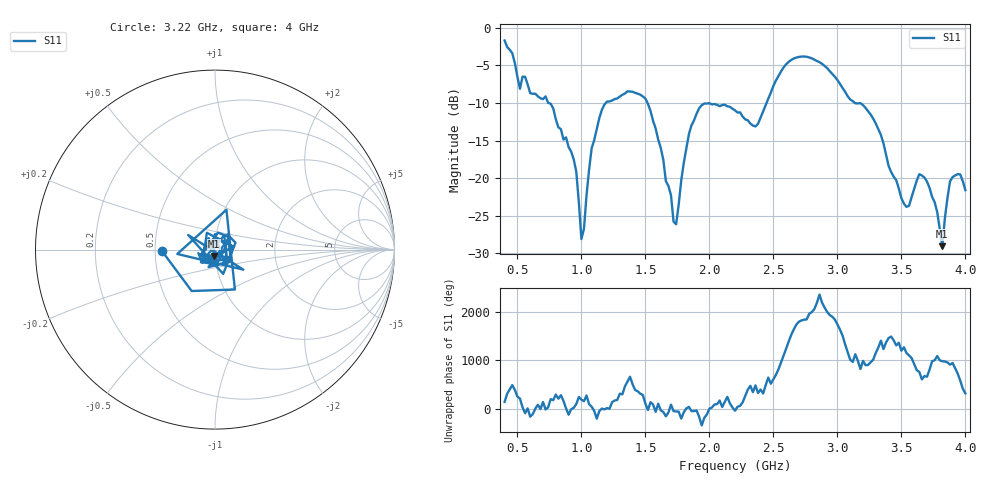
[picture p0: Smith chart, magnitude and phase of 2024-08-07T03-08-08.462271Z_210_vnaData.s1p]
!Created with skrf (http://scikit-rf.org).
# Hz S RI R 50.0
!freq ReS11 ImS11
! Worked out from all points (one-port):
!   181 points, 400 MHz to 4 GHz, reference 50 ohm
!   lowest |S11| = -29.1 dB at 3.82 GHz (marker M1), VSWR 1.07, Z = 49.4 - j3.44 ohm
!   |S11| at or under -10 dB: 742.9 MHz to 1.19 GHz (447.4 MHz wide, 46.3 % of centre); 1.517 GHz to 2.446 GHz (929.4 MHz wide, 46.9 % of centre); 3.138 GHz to end of sweep
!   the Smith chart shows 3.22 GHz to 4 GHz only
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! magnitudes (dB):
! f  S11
! 400 MHz  -1.7
! 520 MHz  -8.1
! 560 MHz  -6.5
! 720 MHz  -9.1
! 860 MHz  -14.9
! 960 MHz  -19.2
! 1 GHz  -28.1
! 1.08 GHz  -16.0
! 1.14 GHz  -12.0
! 1.3 GHz  -9.1
! 1.5 GHz  -9.4
! 1.62 GHz  -16.0
! 1.72 GHz  -25.8
! 1.76 GHz  -23.6
! 1.84 GHz  -14.1
! 1.92 GHz  -10.7
! 2.2 GHz  -11.0
! 2.36 GHz  -13.1
! 2.66 GHz  -4.1
! 2.88 GHz  -4.8
! 3.1 GHz  -9.5
! 3.28 GHz  -12.1
! 3.56 GHz  -23.7
! 3.68 GHz  -19.9
! 3.76 GHz  -23.2
! 3.82 GHz  -29.1
! 3.88 GHz  -20.4
! 4 GHz  -21.6
